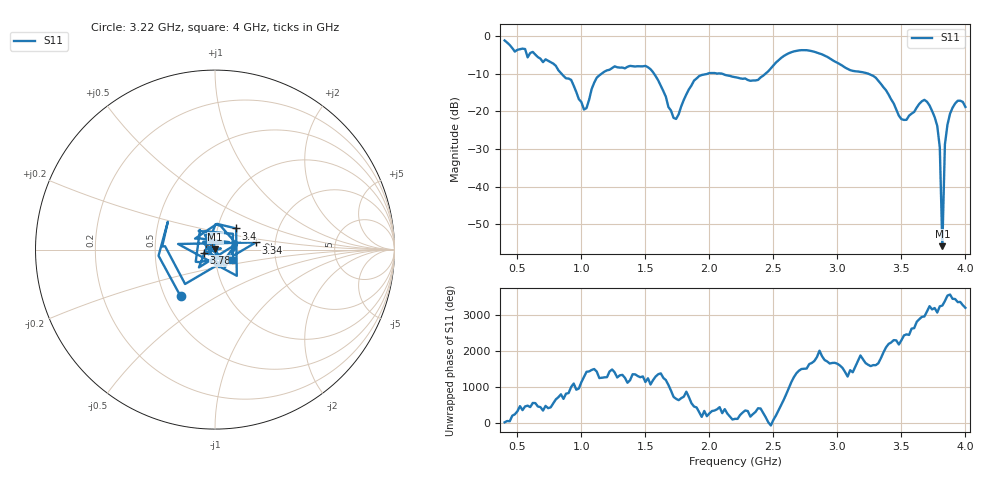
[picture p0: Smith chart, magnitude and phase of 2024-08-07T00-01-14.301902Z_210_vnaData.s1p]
!Created with skrf (http://scikit-rf.org).
# Hz S RI R 50.0
!freq ReS11 ImS11
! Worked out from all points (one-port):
!   181 points, 400 MHz to 4 GHz, reference 50 ohm
!   lowest |S11| = -55.8 dB at 3.82 GHz (marker M1), VSWR 1.00, Z = 50.1 + j0.0826 ohm
!   |S11| at or under -10 dB: 1.567 GHz to 1.988 GHz (420.9 MHz wide, 23.7 % of centre); 2.095 GHz to 2.439 GHz (343.9 MHz wide, 15.2 % of centre); 3.24 GHz to end of sweep (the widest 3 of 4)
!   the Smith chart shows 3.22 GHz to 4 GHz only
!   S11 on the Smith chart (normalised r, x): 3.22 GHz: 0.60, -0.35; 3.34 GHz: 1.58, +0.13; 3.4 GHz: 1.23, +0.30; 3.78 GHz: 0.88, -0.03; 4 GHz: 1.21, -0.15
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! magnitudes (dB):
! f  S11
! 400 MHz  -1.2
! 860 MHz  -10.6
! 920 MHz  -11.7
! 1.02 GHz  -19.5
! 1.12 GHz  -11.1
! 1.3 GHz  -8.4
! 1.54 GHz  -8.8
! 1.72 GHz  -21.8
! 1.76 GHz  -20.8
! 1.92 GHz  -10.6
! 2.2 GHz  -10.9
! 2.38 GHz  -11.7
! 2.66 GHz  -4.1
! 2.86 GHz  -4.6
! 3.1 GHz  -9.1
! 3.22 GHz  -9.8
! 3.34 GHz  -12.7
! 3.4 GHz  -15.6
! 3.5 GHz  -22.1
! 3.56 GHz  -21.2
! 3.68 GHz  -17.0
! 3.78 GHz  -23.9
! 3.8 GHz  -29.6
! 3.82 GHz  -55.8
! 3.84 GHz  -28.8
! 3.86 GHz  -23.6
! 3.94 GHz  -17.2
! 4 GHz  -18.9
